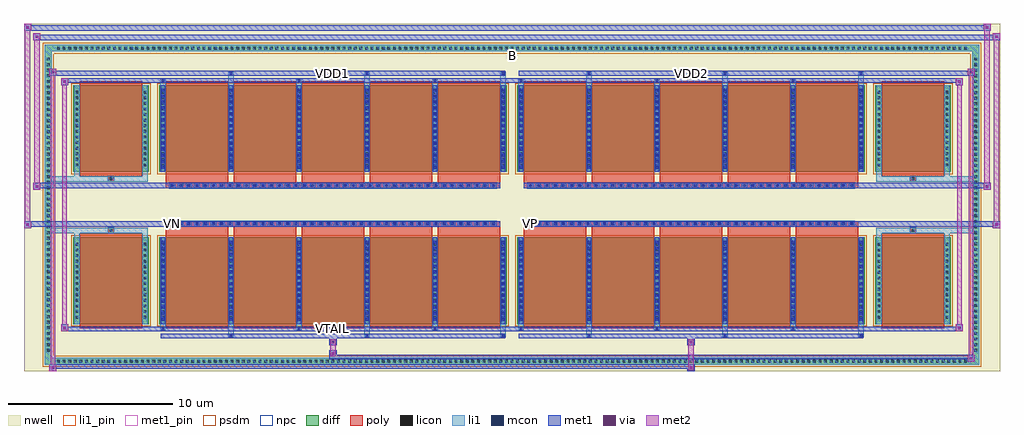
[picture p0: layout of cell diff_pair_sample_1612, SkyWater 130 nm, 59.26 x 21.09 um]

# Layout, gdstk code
import gdstk
lib = gdstk.Library(unit=1e-6, precision=5e-09)
def R(c, l, rs):  # rectangles x0, y0, x1, y1
    for r in rs: c.add(gdstk.rectangle(r[:2], r[2:], *l))
def A(c, l, x, y, w, h, nx, ny, dx, dy):  # array of equal rectangles
    R(c, l, [(x+i*dx, y+j*dy, x+i*dx+w, y+j*dy+h) for i in range(nx) for j in range(ny)])
def P(c, l, *ps):  # polygons
    for p in ps: c.add(gdstk.Polygon(p, *l))
nwell = (64, 20)
diff = (65, 20)
poly = (66, 20)
licon = (66, 44)
li1_pin = (67, 16)
li1 = (67, 20)
mcon = (67, 44)
met1_pin = (68, 16)
met1 = (68, 20)
via = (68, 44)
met2 = (69, 20)
psdm = (94, 20)
npc = (95, 20)

diff_pair_sample_1612 = lib.new_cell('diff_pair_sample_1612')
R(diff_pair_sample_1612, nwell, [(-29.63,-10.11,29.63,10.98), (-26.95,-8.3,-0.01,-0.8), (0.01,-8.3,26.95,-0.8), (-26.95,0.8,-0.01,8.3), (0.01,0.8,26.95,8.3)])
A(diff_pair_sample_1612, diff, -27.745, -9.71, 0.41, 0.41, 163, 2, 0.34, 19.01)
A(diff_pair_sample_1612, diff, -28.36, -9.045, 0.41, 0.41, 1, 53, 0, 0.34)
A(diff_pair_sample_1612, diff, 27.95, -9.045, 0.41, 0.41, 1, 53, 0, 0.34)
R(diff_pair_sample_1612, diff, [(-27.745,-9.71,27.745,-9.3), (-28.36,-9.045,-27.95,9.045), (27.95,-9.045,28.36,9.045), (-26.64,-7.255,-22.06,-1.985), (-21.42,-7.255,-0.32,-1.985), (0.32,-7.255,21.42,-1.985), (22.06,-7.255,26.64,-1.985), (-26.64,1.985,-22.06,7.255), (-21.42,1.985,-0.32,7.255), (0.32,1.985,21.42,7.255), (22.06,1.985,26.64,7.255), (-27.745,9.3,27.745,9.71)])
P(diff_pair_sample_1612, diff, [(28.36,9.71),(-28.36,9.71),(-28.36,-9.3),(-27.95,-9.3),(-27.95,9.3),(27.95,9.3),(27.95,-9.3),(-27.95,-9.3),(-28.36,-9.3),(-28.36,-9.71),(28.36,-9.71)])
A(diff_pair_sample_1612, poly, -21.03, -7.505, 3.8, 5.77, 5, 2, 4.13, 9.24)
A(diff_pair_sample_1612, poly, 0.71, -7.505, 3.8, 5.77, 5, 2, 4.13, 9.24)
A(diff_pair_sample_1612, poly, -21.03, -1.735, 3.8, 0.405, 5, 2, 4.13, 3.065)
A(diff_pair_sample_1612, poly, 0.71, -1.735, 3.8, 0.405, 5, 2, 4.13, 3.065)
A(diff_pair_sample_1612, poly, -20.785, -1.33, 0.33, 0.33, 40, 2, 0.5, 2.33)
A(diff_pair_sample_1612, poly, 0.955, -1.33, 0.33, 0.33, 40, 2, 0.5, 2.33)
R(diff_pair_sample_1612, poly, [(-26.25,-7.505,-22.45,-1.735), (22.45,-7.505,26.25,-1.735), (-24.515,-1.735,-24.185,-1.405), (-24.515,-1.735,-24.185,-1.405), (24.185,-1.735,24.515,-1.405), (24.185,-1.735,24.515,-1.405), (-21.03,-1.33,-0.71,-1), (0.71,-1.33,21.03,-1), (-21.03,1,-0.71,1.33), (0.71,1,21.03,1.33), (-24.515,1.405,-24.185,1.735), (-24.515,1.405,-24.185,1.735), (24.185,1.405,24.515,1.735), (24.185,1.405,24.515,1.735), (-26.25,1.735,-22.45,7.505), (22.45,1.735,26.25,7.505)])
A(diff_pair_sample_1612, licon, -27.625, -9.59, 0.17, 0.17, 163, 2, 0.34, 19.01)
A(diff_pair_sample_1612, licon, -28.24, -8.925, 0.17, 0.17, 1, 53, 0, 0.34)
A(diff_pair_sample_1612, licon, 28.07, -8.925, 0.17, 0.17, 1, 53, 0, 0.34)
A(diff_pair_sample_1612, licon, -26.5, -6.915, 0.17, 0.17, 1, 14, 0, 0.34)
A(diff_pair_sample_1612, licon, -22.37, -6.915, 0.17, 0.17, 1, 14, 0, 0.34)
A(diff_pair_sample_1612, licon, -21.28, -6.915, 0.17, 0.17, 6, 14, 4.13, 0.34)
A(diff_pair_sample_1612, licon, 0.46, -6.915, 0.17, 0.17, 6, 14, 4.13, 0.34)
A(diff_pair_sample_1612, licon, 22.2, -6.915, 0.17, 0.17, 1, 14, 0, 0.34)
A(diff_pair_sample_1612, licon, 26.33, -6.915, 0.17, 0.17, 1, 14, 0, 0.34)
A(diff_pair_sample_1612, licon, -20.705, -1.25, 0.17, 0.17, 40, 2, 0.5, 2.33)
A(diff_pair_sample_1612, licon, 1.035, -1.25, 0.17, 0.17, 40, 2, 0.5, 2.33)
A(diff_pair_sample_1612, licon, -26.5, 2.325, 0.17, 0.17, 1, 14, 0, 0.34)
A(diff_pair_sample_1612, licon, -22.37, 2.325, 0.17, 0.17, 1, 14, 0, 0.34)
A(diff_pair_sample_1612, licon, -21.28, 2.325, 0.17, 0.17, 6, 14, 4.13, 0.34)
A(diff_pair_sample_1612, licon, 0.46, 2.325, 0.17, 0.17, 6, 14, 4.13, 0.34)
A(diff_pair_sample_1612, licon, 22.2, 2.325, 0.17, 0.17, 1, 14, 0, 0.34)
A(diff_pair_sample_1612, licon, 26.33, 2.325, 0.17, 0.17, 1, 14, 0, 0.34)
R(diff_pair_sample_1612, licon, [(-24.435,-1.655,-24.265,-1.485), (24.265,-1.655,24.435,-1.485), (-24.435,1.485,-24.265,1.655), (24.265,1.485,24.435,1.655)])
R(diff_pair_sample_1612, li1_pin, [(-0.25,8.8,0.25,9.3)])
A(diff_pair_sample_1612, li1, -27.705, -9.67, 0.33, 0.33, 163, 2, 0.34, 19.01)
A(diff_pair_sample_1612, li1, -28.32, -9.005, 0.33, 0.33, 1, 53, 0, 0.34)
A(diff_pair_sample_1612, li1, 27.99, -9.005, 0.33, 0.33, 1, 53, 0, 0.34)
A(diff_pair_sample_1612, li1, -17.23, -8.06, 0.33, 0.805, 3, 2, 8.26, 15.315)
A(diff_pair_sample_1612, li1, -17.15, -8.06, 0.17, 0.17, 3, 2, 8.26, 15.95)
A(diff_pair_sample_1612, li1, 4.51, -8.06, 0.33, 0.805, 3, 2, 8.26, 15.315)
A(diff_pair_sample_1612, li1, 4.59, -8.06, 0.17, 0.17, 3, 2, 8.26, 15.95)
A(diff_pair_sample_1612, li1, -21.36, -7.63, 0.33, 0.375, 3, 2, 8.26, 14.885)
A(diff_pair_sample_1612, li1, -21.28, -7.63, 0.17, 0.17, 3, 2, 8.26, 15.09)
A(diff_pair_sample_1612, li1, 0.38, -7.63, 0.33, 0.375, 3, 2, 8.26, 14.885)
A(diff_pair_sample_1612, li1, 0.46, -7.63, 0.17, 0.17, 3, 2, 8.26, 15.09)
A(diff_pair_sample_1612, li1, -21.36, -7.255, 0.33, 5.27, 6, 2, 4.13, 9.24)
A(diff_pair_sample_1612, li1, 0.38, -7.255, 0.33, 5.27, 6, 2, 4.13, 9.24)
A(diff_pair_sample_1612, li1, -21.28, -7.045, 0.17, 0.17, 6, 14, 4.13, 0.36)
A(diff_pair_sample_1612, li1, -21.28, -7.045, 0.17, 4.85, 6, 2, 4.13, 9.24)
A(diff_pair_sample_1612, li1, 0.46, -7.045, 0.17, 0.17, 6, 14, 4.13, 0.36)
A(diff_pair_sample_1612, li1, 0.46, -7.045, 0.17, 4.85, 6, 2, 4.13, 9.24)
A(diff_pair_sample_1612, li1, -26.58, -6.995, 0.33, 0.33, 1, 14, 0, 0.34)
A(diff_pair_sample_1612, li1, -22.45, -6.995, 0.33, 0.33, 1, 14, 0, 0.34)
A(diff_pair_sample_1612, li1, -21.36, -6.995, 0.33, 0.33, 6, 14, 4.13, 0.34)
A(diff_pair_sample_1612, li1, 0.38, -6.995, 0.33, 0.33, 6, 14, 4.13, 0.34)
A(diff_pair_sample_1612, li1, 22.12, -6.995, 0.33, 0.33, 1, 14, 0, 0.34)
A(diff_pair_sample_1612, li1, 26.25, -6.995, 0.33, 0.33, 1, 14, 0, 0.34)
A(diff_pair_sample_1612, li1, -20.785, -1.33, 0.33, 0.33, 40, 2, 0.5, 2.33)
A(diff_pair_sample_1612, li1, 0.955, -1.33, 0.33, 0.33, 40, 2, 0.5, 2.33)
A(diff_pair_sample_1612, li1, -21.28, 2.195, 0.17, 0.17, 6, 14, 4.13, 0.36)
A(diff_pair_sample_1612, li1, 0.46, 2.195, 0.17, 0.17, 6, 14, 4.13, 0.36)
A(diff_pair_sample_1612, li1, -26.58, 2.245, 0.33, 0.33, 1, 14, 0, 0.34)
A(diff_pair_sample_1612, li1, -22.45, 2.245, 0.33, 0.33, 1, 14, 0, 0.34)
A(diff_pair_sample_1612, li1, -21.36, 2.245, 0.33, 0.33, 6, 14, 4.13, 0.34)
A(diff_pair_sample_1612, li1, 0.38, 2.245, 0.33, 0.33, 6, 14, 4.13, 0.34)
A(diff_pair_sample_1612, li1, 22.12, 2.245, 0.33, 0.33, 1, 14, 0, 0.34)
A(diff_pair_sample_1612, li1, 26.25, 2.245, 0.33, 0.33, 1, 14, 0, 0.34)
R(diff_pair_sample_1612, li1, [(-28.36,-9.71,-27.95,-9.3), (-28.36,-9.71,-27.95,-9.3), (-27.95,-9.71,27.95,-9.3), (27.95,-9.71,28.36,-9.3), (27.95,-9.71,28.36,-9.3), (-28.36,-9.3,-27.95,9.3), (27.95,-9.3,28.36,9.3), (-26.58,-7.255,-26.25,-1.985), (-22.45,-7.255,-22.12,-1.985), (22.12,-7.255,22.45,-1.985), (26.25,-7.255,26.58,-1.985), (-26.58,-1.985,-26.25,-1.405), (-22.45,-1.985,-22.12,-1.405), (22.12,-1.985,22.45,-1.405), (26.25,-1.985,26.58,-1.405), (-28.36,-1.735,-24.515,-1.405), (-26.58,-1.735,-24.515,-1.405), (-24.515,-1.735,-24.185,-1.405), (-24.185,-1.735,-22.12,-1.405), (22.12,-1.735,24.185,-1.405), (24.185,-1.735,24.515,-1.405), (24.185,-1.735,28.36,-1.405), (24.515,-1.735,26.58,-1.405), (-28.36,1.405,-24.515,1.735), (-26.58,1.405,-24.515,1.735), (-26.58,1.405,-26.25,1.985), (-24.515,1.405,-24.185,1.735), (-24.185,1.405,-22.12,1.735), (-22.45,1.405,-22.12,1.985), (22.12,1.405,24.185,1.735), (22.12,1.405,22.45,1.985), (24.185,1.405,24.515,1.735), (24.185,1.405,28.36,1.735), (24.515,1.405,26.58,1.735), (26.25,1.405,26.58,1.985), (-26.58,1.985,-26.25,7.255), (-22.45,1.985,-22.12,7.255), (22.12,1.985,22.45,7.255), (26.25,1.985,26.58,7.255), (-28.36,9.3,-27.95,9.71), (-28.36,9.3,-27.95,9.71), (-27.95,9.3,27.95,9.71), (27.95,9.3,28.36,9.71), (27.95,9.3,28.36,9.71)])
A(diff_pair_sample_1612, mcon, -17.15, -8.06, 0.17, 0.17, 3, 2, 8.26, 15.95)
A(diff_pair_sample_1612, mcon, 4.59, -8.06, 0.17, 0.17, 3, 2, 8.26, 15.95)
A(diff_pair_sample_1612, mcon, -21.28, -7.63, 0.17, 0.17, 3, 2, 8.26, 15.09)
A(diff_pair_sample_1612, mcon, 0.46, -7.63, 0.17, 0.17, 3, 2, 8.26, 15.09)
A(diff_pair_sample_1612, mcon, -21.28, -7.045, 0.17, 0.17, 6, 14, 4.13, 0.36)
A(diff_pair_sample_1612, mcon, 0.46, -7.045, 0.17, 0.17, 6, 14, 4.13, 0.36)
A(diff_pair_sample_1612, mcon, -20.705, -1.25, 0.17, 0.17, 40, 2, 0.5, 2.33)
A(diff_pair_sample_1612, mcon, 1.035, -1.25, 0.17, 0.17, 40, 2, 0.5, 2.33)
A(diff_pair_sample_1612, mcon, -21.28, 2.195, 0.17, 0.17, 6, 14, 4.13, 0.36)
A(diff_pair_sample_1612, mcon, 0.46, 2.195, 0.17, 0.17, 6, 14, 4.13, 0.36)
R(diff_pair_sample_1612, met1_pin, [(-11.005,-7.67,-10.735,-7.4), (-20.755,-1.29,-20.485,-1.02), (0.985,-1.29,1.255,-1.02), (-11.005,7.85,-10.735,8.12), (10.735,7.85,11.005,8.12)])
A(diff_pair_sample_1612, met1, -17.21, -8.12, 0.29, 0.29, 3, 2, 8.26, 15.95)
A(diff_pair_sample_1612, met1, 4.53, -8.12, 0.29, 0.29, 3, 2, 8.26, 15.95)
A(diff_pair_sample_1612, met1, -21.34, -7.69, 0.29, 0.29, 3, 2, 8.26, 15.09)
A(diff_pair_sample_1612, met1, 0.4, -7.69, 0.29, 0.29, 3, 2, 8.26, 15.09)
A(diff_pair_sample_1612, met1, -21.34, -7.255, 0.29, 5.27, 6, 2, 4.13, 9.24)
A(diff_pair_sample_1612, met1, 0.4, -7.255, 0.29, 5.27, 6, 2, 4.13, 9.24)
A(diff_pair_sample_1612, met1, -21.34, -7.105, 0.29, 0.29, 6, 14, 4.13, 0.36)
A(diff_pair_sample_1612, met1, 0.4, -7.105, 0.29, 0.29, 6, 14, 4.13, 0.36)
A(diff_pair_sample_1612, met1, -20.765, -1.31, 0.29, 0.29, 40, 2, 0.5, 2.33)
A(diff_pair_sample_1612, met1, 0.975, -1.31, 0.29, 0.29, 40, 2, 0.5, 2.33)
A(diff_pair_sample_1612, met1, -21.34, 2.135, 0.29, 0.29, 6, 14, 4.13, 0.36)
A(diff_pair_sample_1612, met1, 0.4, 2.135, 0.29, 0.29, 6, 14, 4.13, 0.36)
R(diff_pair_sample_1612, met1, [(-28.09,-10.11,-27.66,-9.68), (10.655,-10.11,11.085,-9.68), (-28.09,-9.97,11.085,-9.68), (27.66,-9.54,28.09,-9.11), (-11.085,-9.4,28.09,-9.11), (-11.085,-9.26,-10.655,-8.83), (-11.085,-8.55,-10.655,-8.12), (10.655,-8.55,11.085,-8.12), (-21.34,-8.12,-0.4,-7.83), (0.4,-8.12,21.34,-7.83), (-27.38,-7.69,-26.95,-7.26), (-27.38,-7.69,-21.34,-7.4), (-21.34,-7.69,-0.4,-7.4), (-0.4,-7.69,0.4,-7.4), (0.4,-7.69,21.34,-7.4), (21.34,-7.69,27.38,-7.4), (26.95,-7.69,27.38,-7.26), (-29.63,-1.43,-29.2,-1), (29.2,-1.43,29.63,-1), (-29.63,-1.33,-0.71,-1), (-21.03,-1.33,-0.71,-1), (0.71,-1.33,21.03,-1), (0.71,-1.33,29.63,-1), (-29.06,0.9,-28.63,1.33), (28.63,0.9,29.06,1.33), (-29.06,1,-21.03,1.33), (-21.03,1,-0.71,1.33), (0.71,1,21.03,1.33), (21.03,1,29.06,1.33), (-27.38,7.26,-26.95,7.69), (26.95,7.26,27.38,7.69), (-27.38,7.4,-21.34,7.69), (-21.34,7.4,-0.4,7.69), (-0.4,7.4,0.4,7.69), (0.4,7.4,21.34,7.69), (21.34,7.4,27.38,7.69), (-28.09,7.83,-27.66,8.26), (-28.09,7.83,-21.34,8.12), (-21.34,7.83,-0.4,8.12), (0.4,7.83,21.34,8.12), (21.34,7.83,28.09,8.12), (27.66,7.83,28.09,8.26), (-29.06,9.98,-28.63,10.41), (-29.06,9.98,-26.95,10.31), (-26.95,9.98,26.95,10.31), (26.95,9.98,29.63,10.31), (29.2,9.98,29.63,10.41), (-29.63,10.55,-29.2,10.98), (-29.63,10.55,-26.95,10.88), (-26.95,10.55,26.95,10.88), (26.95,10.55,29.06,10.88), (28.63,10.55,29.06,10.98)])
R(diff_pair_sample_1612, via, [(-27.95,-9.97,-27.8,-9.82), (10.795,-9.97,10.945,-9.82), (27.8,-9.4,27.95,-9.25), (-10.945,-9.12,-10.795,-8.97), (-10.945,-8.41,-10.795,-8.26), (10.795,-8.41,10.945,-8.26), (-27.24,-7.55,-27.09,-7.4), (27.09,-7.55,27.24,-7.4), (-29.49,-1.29,-29.34,-1.14), (29.34,-1.29,29.49,-1.14), (-28.92,1.04,-28.77,1.19), (28.77,1.04,28.92,1.19), (-27.24,7.4,-27.09,7.55), (27.09,7.4,27.24,7.55), (-27.95,7.97,-27.8,8.12), (27.8,7.97,27.95,8.12), (-28.92,10.12,-28.77,10.27), (29.34,10.12,29.49,10.27), (-29.49,10.69,-29.34,10.84), (28.77,10.69,28.92,10.84)])
R(diff_pair_sample_1612, met2, [(-28.09,-10.11,-27.66,-9.68), (-28.02,-10.11,-27.73,8.26), (-27.73,-10.11,-27.66,-9.68), (-28.04,-10.06,-27.71,-9.73), (10.705,-10.06,11.035,-9.73), (10.705,-9.73,11.035,-8.5), (27.66,-9.54,28.09,-9.11), (27.73,-9.54,28.02,8.26), (28.02,-9.54,28.09,-9.11), (27.71,-9.49,28.04,-9.16), (-11.035,-9.21,-10.705,-8.88), (-11.035,-8.88,-10.705,-8.5), (-11.035,-8.5,-10.705,-8.17), (10.705,-8.5,11.035,-8.17), (-27.38,-7.69,-26.95,-7.26), (-27.31,-7.69,-27.02,7.69), (-27.02,-7.69,-26.95,-7.26), (26.95,-7.69,27.38,-7.26), (27.02,-7.69,27.31,7.69), (27.31,-7.69,27.38,-7.26), (-27.33,-7.64,-27,-7.31), (27,-7.64,27.33,-7.31), (-29.63,-1.43,-29.2,-1), (-29.58,-1.43,-29.25,10.98), (-29.25,-1.43,-29.2,-1), (29.2,-1.43,29.63,-1), (29.25,-1.43,29.58,10.41), (29.58,-1.43,29.63,-1), (-29.58,-1.38,-29.25,-1.05), (29.25,-1.38,29.58,-1.05), (-29.06,0.9,-28.63,1.33), (-29.01,0.9,-28.68,10.41), (-28.68,0.9,-28.63,1.33), (28.63,0.9,29.06,1.33), (28.68,0.9,29.01,10.98), (29.01,0.9,29.06,1.33), (-29.01,0.95,-28.68,1.28), (28.68,0.95,29.01,1.28), (-27.38,7.26,-26.95,7.69), (-27.02,7.26,-26.95,7.69), (26.95,7.26,27.38,7.69), (27.31,7.26,27.38,7.69), (-27.33,7.31,-27,7.64), (27,7.31,27.33,7.64), (-28.09,7.83,-27.66,8.26), (-27.73,7.83,-27.66,8.26), (27.66,7.83,28.09,8.26), (28.02,7.83,28.09,8.26), (-28.04,7.88,-27.71,8.21), (27.71,7.88,28.04,8.21), (-29.06,9.98,-28.63,10.41), (-28.68,9.98,-28.63,10.41), (29.2,9.98,29.63,10.41), (29.58,9.98,29.63,10.41), (-29.01,10.03,-28.68,10.36), (29.25,10.03,29.58,10.36), (-29.63,10.55,-29.2,10.98), (-29.25,10.55,-29.2,10.98), (28.63,10.55,29.06,10.98), (29.01,10.55,29.06,10.98), (-29.58,10.6,-29.25,10.93), (28.68,10.6,29.01,10.93)])
R(diff_pair_sample_1612, psdm, [(-26.77,-7.385,-21.93,-1.855), (-21.55,-7.385,-0.19,-1.855), (0.19,-7.385,21.55,-1.855), (21.93,-7.385,26.77,-1.855), (-26.77,1.855,-21.93,7.385), (-21.55,1.855,-0.19,7.385), (0.19,1.855,21.55,7.385), (21.93,1.855,26.77,7.385)])
P(diff_pair_sample_1612, psdm, [(28.49,9.84),(-28.49,9.84),(-28.49,-9.17),(-27.82,-9.17),(-27.82,9.17),(27.82,9.17),(27.82,-9.17),(-27.82,-9.17),(-28.49,-9.17),(-28.49,-9.84),(28.49,-9.84)])
A(diff_pair_sample_1612, npc, -20.805, -1.35, 0.37, 0.37, 40, 2, 0.5, 2.33)
A(diff_pair_sample_1612, npc, 0.935, -1.35, 0.37, 0.37, 40, 2, 0.5, 2.33)
R(diff_pair_sample_1612, npc, [(-24.535,-1.755,-24.165,-1.385), (24.165,-1.755,24.535,-1.385), (-20.805,-1.35,-19.935,-0.98), (-20.805,-1.35,-19.935,-0.98), (-20.305,-1.35,-19.435,-0.98), (-20.305,-1.35,-19.435,-0.98), (-19.805,-1.35,-18.935,-0.98), (-19.805,-1.35,-18.935,-0.98), (-19.305,-1.35,-18.435,-0.98), (-19.305,-1.35,-18.435,-0.98), (-18.805,-1.35,-17.935,-0.98), (-18.805,-1.35,-17.935,-0.98), (-18.305,-1.35,-17.435,-0.98), (-18.305,-1.35,-17.435,-0.98), (-17.805,-1.35,-16.935,-0.98), (-17.805,-1.35,-16.935,-0.98), (-17.305,-1.35,-16.435,-0.98), (-17.305,-1.35,-16.435,-0.98), (-16.805,-1.35,-15.935,-0.98), (-16.805,-1.35,-15.935,-0.98), (-16.305,-1.35,-15.435,-0.98), (-16.305,-1.35,-15.435,-0.98), (-15.805,-1.35,-14.935,-0.98), (-15.805,-1.35,-14.935,-0.98), (-15.305,-1.35,-14.435,-0.98), (-15.305,-1.35,-14.435,-0.98), (-14.805,-1.35,-13.935,-0.98), (-14.805,-1.35,-13.935,-0.98), (-14.305,-1.35,-13.435,-0.98), (-14.305,-1.35,-13.435,-0.98), (-13.805,-1.35,-12.935,-0.98), (-13.805,-1.35,-12.935,-0.98), (-13.305,-1.35,-12.435,-0.98), (-13.305,-1.35,-12.435,-0.98), (-12.805,-1.35,-11.935,-0.98), (-12.805,-1.35,-11.935,-0.98), (-12.305,-1.35,-11.435,-0.98), (-12.305,-1.35,-11.435,-0.98), (-11.805,-1.35,-10.935,-0.98), (-11.805,-1.35,-10.935,-0.98), (-11.305,-1.35,-10.435,-0.98), (-11.305,-1.35,-10.435,-0.98), (-10.805,-1.35,-9.935,-0.98), (-10.805,-1.35,-9.935,-0.98), (-10.305,-1.35,-9.435,-0.98), (-10.305,-1.35,-9.435,-0.98), (-9.805,-1.35,-8.935,-0.98), (-9.805,-1.35,-8.935,-0.98), (-9.305,-1.35,-8.435,-0.98), (-9.305,-1.35,-8.435,-0.98), (-8.805,-1.35,-7.935,-0.98), (-8.805,-1.35,-7.935,-0.98), (-8.305,-1.35,-7.435,-0.98), (-8.305,-1.35,-7.435,-0.98), (-7.805,-1.35,-6.935,-0.98), (-7.805,-1.35,-6.935,-0.98), (-7.305,-1.35,-6.435,-0.98), (-7.305,-1.35,-6.435,-0.98), (-6.805,-1.35,-5.935,-0.98), (-6.805,-1.35,-5.935,-0.98), (-6.305,-1.35,-5.435,-0.98), (-6.305,-1.35,-5.435,-0.98), (-5.805,-1.35,-4.935,-0.98), (-5.805,-1.35,-4.935,-0.98), (-5.305,-1.35,-4.435,-0.98), (-5.305,-1.35,-4.435,-0.98), (-4.805,-1.35,-3.935,-0.98), (-4.805,-1.35,-3.935,-0.98), (-4.305,-1.35,-3.435,-0.98), (-4.305,-1.35,-3.435,-0.98), (-3.805,-1.35,-2.935,-0.98), (-3.805,-1.35,-2.935,-0.98), (-3.305,-1.35,-2.435,-0.98), (-3.305,-1.35,-2.435,-0.98), (-2.805,-1.35,-1.935,-0.98), (-2.805,-1.35,-1.935,-0.98), (-2.305,-1.35,-1.435,-0.98), (-2.305,-1.35,-1.435,-0.98), (-1.805,-1.35,-0.935,-0.98), (-1.805,-1.35,-0.935,-0.98), (0.935,-1.35,1.805,-0.98), (0.935,-1.35,1.805,-0.98), (1.435,-1.35,2.305,-0.98), (1.435,-1.35,2.305,-0.98), (1.935,-1.35,2.805,-0.98), (1.935,-1.35,2.805,-0.98), (2.435,-1.35,3.305,-0.98), (2.435,-1.35,3.305,-0.98), (2.935,-1.35,3.805,-0.98), (2.935,-1.35,3.805,-0.98), (3.435,-1.35,4.305,-0.98), (3.435,-1.35,4.305,-0.98), (3.935,-1.35,4.805,-0.98), (3.935,-1.35,4.805,-0.98), (4.435,-1.35,5.305,-0.98), (4.435,-1.35,5.305,-0.98), (4.935,-1.35,5.805,-0.98), (4.935,-1.35,5.805,-0.98), (5.435,-1.35,6.305,-0.98), (5.435,-1.35,6.305,-0.98), (5.935,-1.35,6.805,-0.98), (5.935,-1.35,6.805,-0.98), (6.435,-1.35,7.305,-0.98), (6.435,-1.35,7.305,-0.98), (6.935,-1.35,7.805,-0.98), (6.935,-1.35,7.805,-0.98), (7.435,-1.35,8.305,-0.98), (7.435,-1.35,8.305,-0.98), (7.935,-1.35,8.805,-0.98), (7.935,-1.35,8.805,-0.98), (8.435,-1.35,9.305,-0.98), (8.435,-1.35,9.305,-0.98), (8.935,-1.35,9.805,-0.98), (8.935,-1.35,9.805,-0.98), (9.435,-1.35,10.305,-0.98), (9.435,-1.35,10.305,-0.98), (9.935,-1.35,10.805,-0.98), (9.935,-1.35,10.805,-0.98), (10.435,-1.35,11.305,-0.98), (10.435,-1.35,11.305,-0.98), (10.935,-1.35,11.805,-0.98), (10.935,-1.35,11.805,-0.98), (11.435,-1.35,12.305,-0.98), (11.435,-1.35,12.305,-0.98), (11.935,-1.35,12.805,-0.98), (11.935,-1.35,12.805,-0.98), (12.435,-1.35,13.305,-0.98), (12.435,-1.35,13.305,-0.98), (12.935,-1.35,13.805,-0.98), (12.935,-1.35,13.805,-0.98), (13.435,-1.35,14.305,-0.98), (13.435,-1.35,14.305,-0.98), (13.935,-1.35,14.805,-0.98), (13.935,-1.35,14.805,-0.98), (14.435,-1.35,15.305,-0.98), (14.435,-1.35,15.305,-0.98), (14.935,-1.35,15.805,-0.98), (14.935,-1.35,15.805,-0.98), (15.435,-1.35,16.305,-0.98), (15.435,-1.35,16.305,-0.98), (15.935,-1.35,16.805,-0.98), (15.935,-1.35,16.805,-0.98), (16.435,-1.35,17.305,-0.98), (16.435,-1.35,17.305,-0.98), (16.935,-1.35,17.805,-0.98), (16.935,-1.35,17.805,-0.98), (17.435,-1.35,18.305,-0.98), (17.435,-1.35,18.305,-0.98), (17.935,-1.35,18.805,-0.98), (17.935,-1.35,18.805,-0.98), (18.435,-1.35,19.305,-0.98), (18.435,-1.35,19.305,-0.98), (18.935,-1.35,19.805,-0.98), (18.935,-1.35,19.805,-0.98), (19.435,-1.35,20.305,-0.98), (19.435,-1.35,20.305,-0.98), (19.935,-1.35,20.805,-0.98), (19.935,-1.35,20.805,-0.98), (-20.805,0.98,-19.935,1.35), (-20.805,0.98,-19.935,1.35), (-20.305,0.98,-19.435,1.35), (-20.305,0.98,-19.435,1.35), (-19.805,0.98,-18.935,1.35), (-19.805,0.98,-18.935,1.35), (-19.305,0.98,-18.435,1.35), (-19.305,0.98,-18.435,1.35), (-18.805,0.98,-17.935,1.35), (-18.805,0.98,-17.935,1.35), (-18.305,0.98,-17.435,1.35), (-18.305,0.98,-17.435,1.35), (-17.805,0.98,-16.935,1.35), (-17.805,0.98,-16.935,1.35), (-17.305,0.98,-16.435,1.35), (-17.305,0.98,-16.435,1.35), (-16.805,0.98,-15.935,1.35), (-16.805,0.98,-15.935,1.35), (-16.305,0.98,-15.435,1.35), (-16.305,0.98,-15.435,1.35), (-15.805,0.98,-14.935,1.35), (-15.805,0.98,-14.935,1.35), (-15.305,0.98,-14.435,1.35), (-15.305,0.98,-14.435,1.35), (-14.805,0.98,-13.935,1.35), (-14.805,0.98,-13.935,1.35), (-14.305,0.98,-13.435,1.35), (-14.305,0.98,-13.435,1.35), (-13.805,0.98,-12.935,1.35), (-13.805,0.98,-12.935,1.35), (-13.305,0.98,-12.435,1.35), (-13.305,0.98,-12.435,1.35), (-12.805,0.98,-11.935,1.35), (-12.805,0.98,-11.935,1.35), (-12.305,0.98,-11.435,1.35), (-12.305,0.98,-11.435,1.35), (-11.805,0.98,-10.935,1.35), (-11.805,0.98,-10.935,1.35), (-11.305,0.98,-10.435,1.35), (-11.305,0.98,-10.435,1.35), (-10.805,0.98,-9.935,1.35), (-10.805,0.98,-9.935,1.35), (-10.305,0.98,-9.435,1.35), (-10.305,0.98,-9.435,1.35), (-9.805,0.98,-8.935,1.35), (-9.805,0.98,-8.935,1.35), (-9.305,0.98,-8.435,1.35), (-9.305,0.98,-8.435,1.35), (-8.805,0.98,-7.935,1.35), (-8.805,0.98,-7.935,1.35), (-8.305,0.98,-7.435,1.35), (-8.305,0.98,-7.435,1.35), (-7.805,0.98,-6.935,1.35), (-7.805,0.98,-6.935,1.35), (-7.305,0.98,-6.435,1.35), (-7.305,0.98,-6.435,1.35), (-6.805,0.98,-5.935,1.35), (-6.805,0.98,-5.935,1.35), (-6.305,0.98,-5.435,1.35), (-6.305,0.98,-5.435,1.35), (-5.805,0.98,-4.935,1.35), (-5.805,0.98,-4.935,1.35), (-5.305,0.98,-4.435,1.35), (-5.305,0.98,-4.435,1.35), (-4.805,0.98,-3.935,1.35), (-4.805,0.98,-3.935,1.35), (-4.305,0.98,-3.435,1.35), (-4.305,0.98,-3.435,1.35), (-3.805,0.98,-2.935,1.35), (-3.805,0.98,-2.935,1.35), (-3.305,0.98,-2.435,1.35), (-3.305,0.98,-2.435,1.35), (-2.805,0.98,-1.935,1.35), (-2.805,0.98,-1.935,1.35), (-2.305,0.98,-1.435,1.35), (-2.305,0.98,-1.435,1.35), (-1.805,0.98,-0.935,1.35), (-1.805,0.98,-0.935,1.35), (0.935,0.98,1.805,1.35), (0.935,0.98,1.805,1.35), (1.435,0.98,2.305,1.35), (1.435,0.98,2.305,1.35), (1.935,0.98,2.805,1.35), (1.935,0.98,2.805,1.35), (2.435,0.98,3.305,1.35), (2.435,0.98,3.305,1.35), (2.935,0.98,3.805,1.35), (2.935,0.98,3.805,1.35), (3.435,0.98,4.305,1.35), (3.435,0.98,4.305,1.35), (3.935,0.98,4.805,1.35), (3.935,0.98,4.805,1.35), (4.435,0.98,5.305,1.35), (4.435,0.98,5.305,1.35), (4.935,0.98,5.805,1.35), (4.935,0.98,5.805,1.35), (5.435,0.98,6.305,1.35), (5.435,0.98,6.305,1.35), (5.935,0.98,6.805,1.35), (5.935,0.98,6.805,1.35), (6.435,0.98,7.305,1.35), (6.435,0.98,7.305,1.35), (6.935,0.98,7.805,1.35), (6.935,0.98,7.805,1.35), (7.435,0.98,8.305,1.35), (7.435,0.98,8.305,1.35), (7.935,0.98,8.805,1.35), (7.935,0.98,8.805,1.35), (8.435,0.98,9.305,1.35), (8.435,0.98,9.305,1.35), (8.935,0.98,9.805,1.35), (8.935,0.98,9.805,1.35), (9.435,0.98,10.305,1.35), (9.435,0.98,10.305,1.35), (9.935,0.98,10.805,1.35), (9.935,0.98,10.805,1.35), (10.435,0.98,11.305,1.35), (10.435,0.98,11.305,1.35), (10.935,0.98,11.805,1.35), (10.935,0.98,11.805,1.35), (11.435,0.98,12.305,1.35), (11.435,0.98,12.305,1.35), (11.935,0.98,12.805,1.35), (11.935,0.98,12.805,1.35), (12.435,0.98,13.305,1.35), (12.435,0.98,13.305,1.35), (12.935,0.98,13.805,1.35), (12.935,0.98,13.805,1.35), (13.435,0.98,14.305,1.35), (13.435,0.98,14.305,1.35), (13.935,0.98,14.805,1.35), (13.935,0.98,14.805,1.35), (14.435,0.98,15.305,1.35), (14.435,0.98,15.305,1.35), (14.935,0.98,15.805,1.35), (14.935,0.98,15.805,1.35), (15.435,0.98,16.305,1.35), (15.435,0.98,16.305,1.35), (15.935,0.98,16.805,1.35), (15.935,0.98,16.805,1.35), (16.435,0.98,17.305,1.35), (16.435,0.98,17.305,1.35), (16.935,0.98,17.805,1.35), (16.935,0.98,17.805,1.35), (17.435,0.98,18.305,1.35), (17.435,0.98,18.305,1.35), (17.935,0.98,18.805,1.35), (17.935,0.98,18.805,1.35), (18.435,0.98,19.305,1.35), (18.435,0.98,19.305,1.35), (18.935,0.98,19.805,1.35), (18.935,0.98,19.805,1.35), (19.435,0.98,20.305,1.35), (19.435,0.98,20.305,1.35), (19.935,0.98,20.805,1.35), (19.935,0.98,20.805,1.35), (-24.535,1.385,-24.165,1.755), (24.165,1.385,24.535,1.755)])
diff_pair_sample_1612.add(gdstk.Label('VTAIL', (-10.87,-7.535), layer=68, texttype=5))
diff_pair_sample_1612.add(gdstk.Label('VN', (-20.62,-1.155), layer=68, texttype=5))
diff_pair_sample_1612.add(gdstk.Label('VP', (1.12,-1.155), layer=68, texttype=5))
diff_pair_sample_1612.add(gdstk.Label('B', (0,9.05), layer=67, texttype=5))
diff_pair_sample_1612.add(gdstk.Label('VDD2', (10.87,7.985), layer=68, texttype=5))
diff_pair_sample_1612.add(gdstk.Label('VDD1', (-10.87,7.985), layer=68, texttype=5))

lib.write_gds('diff_pair_sample_1612.gds')
